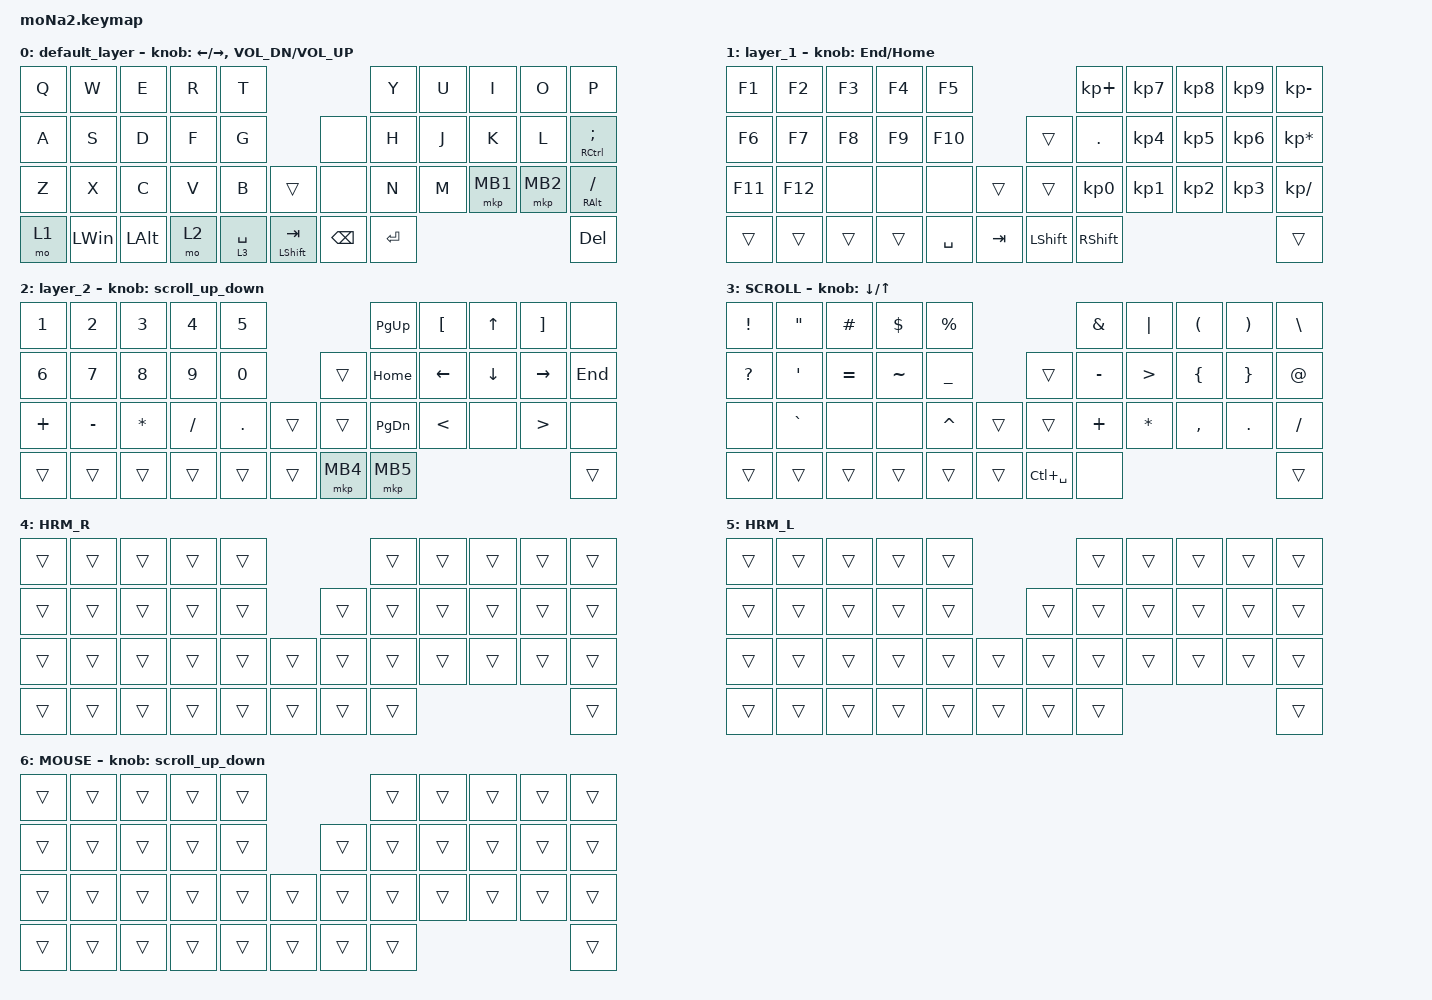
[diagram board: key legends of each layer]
#include <behaviors.dtsi>
#include <dt-bindings/zmk/bt.h>
#include <dt-bindings/zmk/keys.h>
#include <dt-bindings/zmk/pointing.h>

#define ZMK_POINTING_DEFAULT_SCRL_VAL 100
#define MOUSE 5
#define SCROLL 6

&mt {
    flavor = "hold-preferred";
    quick-tap-ms = <0>;
};

&lt { flavor = "hold-preferred"; };

/ {
    combos {
        compatible = "zmk,combos";

        bt1 {
            bindings = <&bt BT_SEL 0>;
            key-positions = <26 15>;
        };

        bt0 {
            bindings = <&bt BT_SEL 1>;
            key-positions = <26 27>;
        };

        bt_clr {
            bindings = <&bt BT_CLR>;
            key-positions = <26 27 15>;
        };

        trackball_scroll {
            bindings = <&mo 0>;
            key-positions = <30 31>;
        };

        lang1 {
            bindings = <&kp LANG1>;
            key-positions = <38 39>;
        };

        lang2 {
            bindings = <&kp LANG2>;
            key-positions = <37 40>;
        };

        middl_click {
            bindings = <&mkp MB3>;
            key-positions = <30 29>;
        };

        fnscroll-l {
            bindings = <&mo 0>;
            key-positions = <13 12>;
        };

        fnscroll-r {
            bindings = <&mo 0>;
            key-positions = <17 18>;
        };

        LeftCtrl {
            bindings = <&kp LEFT_CONTROL>;
            key-positions = <11 13>;
        };

        RightCtrl {
            bindings = <&kp RIGHT_CONTROL>;
            key-positions = <17 19>;
        };

        LeftAlt {
            bindings = <&kp LEFT_ALT>;
            key-positions = <14 12>;
        };

        RightAlt {
            bindings = <&kp RIGHT_ALT>;
            key-positions = <16 18>;
        };

        LeftGui {
            bindings = <&kp LEFT_GUI>;
            key-positions = <14 11>;
        };

        RightGui {
            bindings = <&kp RIGHT_GUI>;
            key-positions = <16 19>;
        };

        esc {
            bindings = <&kp ESC>;
            key-positions = <0 1>;
        };

        bt2 {
            bindings = <&bt BT_SEL 2>;
            key-positions = <27 15>;
        };
    };

    macros {
        to_layer_0: to_layer_0 {
            compatible = "zmk,behavior-macro-one-param";
            #binding-cells = <1>;
            bindings = <&to 0 &macro_param_1to1 &kp MACRO_PLACEHOLDER>;
            label = "TO_LAYER_0";
        };
    };

    behaviors {
        lt_to_layer_0: lt_to_layer_0 {
            compatible = "zmk,behavior-hold-tap";
            label = "LAYER_TAP_TO_0";
            bindings = <&mo>, <&to_layer_0>;

            #binding-cells = <2>;
            tapping-term-ms = <200>;
        };

        scroll_up_down: behavior_sensor_rotate_mouse_wheel_up_down {
            compatible = "zmk,behavior-sensor-rotate";
            #sensor-binding-cells = <0>;
            bindings = <&msc SCRL_UP>, <&msc SCRL_DOWN>;

            tap-ms = <20>;
        };

        tog_off: toggle_layer_off {
            compatible = "zmk,behavior-toggle-layer";
            #binding-cells = <1>;
            display-name = "Toggle Layer Off";
            toggle-mode = "off";
        };

        mt_rt: mt_retro_tap {
            compatible = "zmk,behavior-hold-tap";
            #binding-cells = <2>;
            flavor = "balanced";
            retro-tap;
            bindings = <&kp>, <&kp>;

            tapping-term-ms = <200>;
        };

        hml: home_row_mod_left {
            compatible = "zmk,behavior-hold-tap";
            #binding-cells = <2>;
            flavor = "balanced";
            require-prior-idle-ms = <200>;
            tapping-term-ms = <280>;
            quick-tap-ms = <160>;
            bindings = <&kp>, <&kp>;

            hold-trigger-key-positions = <5 6 7 8 9 15 16 17 18 19 20 26 27 28 29 30 31 32 33 34 35 36 37 38 39 40 41>;
            hold-trigger-on-release;
        };

        hmr: home_row_mod_right {
            compatible = "zmk,behavior-hold-tap";
            #binding-cells = <2>;
            flavor = "balanced";
            require-prior-idle-ms = <200>;
            tapping-term-ms = <280>;
            quick-tap-ms = <160>;
            bindings = <&kp>, <&kp>;

            hold-trigger-key-positions = <0 1 2 3 4 10 11 12 13 14 15 21 22 23 24 25 26 27 33 34 35 36 37 38 39 40 41>;
            hold-trigger-on-release;
        };
    };

    keymap {
        compatible = "zmk,keymap";

        default_layer {
            bindings = <
&kp Q  &kp W         &kp E         &kp R  &kp T                                        &kp Y      &kp U  &kp I     &kp O     &kp P
&kp A  &kp S         &kp D         &kp F  &kp G                         &none          &kp H      &kp J  &kp K     &kp L     &mt RCTRL SEMI
&kp Z  &kp X         &kp C         &kp V  &kp B        &trans           &none          &kp N      &kp M  &mkp MB1  &mkp MB2  &mt RALT SLASH
&mo 1  &kp LEFT_WIN  &kp LEFT_ALT  &mo 2  &lt 3 SPACE  &mt LSHFT TAB    &kp BACKSPACE  &kp ENTER                             &kp DEL
            >;

            sensor-bindings =
                <&inc_dec_kp LEFT_ARROW RIGHT_ARROW>,
                <&inc_dec_kp C_VOL_DN C_VOL_UP>;
        };

        layer_1 {
            bindings = <
&kp F1   &kp F2   &kp F3  &kp F4  &kp F5                                &kp KP_PLUS      &kp KP_N7  &kp KP_N8  &kp KP_N9  &kp KP_MINUS
&kp F6   &kp F7   &kp F8  &kp F9  &kp F10               &trans          &kp DOT          &kp KP_N4  &kp KP_N5  &kp KP_N6  &kp KP_MULTIPLY
&kp F11  &kp F12  &none   &none   &none      &trans     &trans          &kp KP_N0        &kp KP_N1  &kp KP_N2  &kp KP_N3  &kp KP_DIVIDE
&trans   &trans   &trans  &trans  &kp SPACE  &kp TAB    &kp LEFT_SHIFT  &kp RIGHT_SHIFT                                   &trans
            >;

            sensor-bindings = <&inc_dec_kp END HOME>;
        };

        layer_2 {
            bindings = <
&kp NUMBER_1  &kp NUMBER_2  &kp NUMBER_3  &kp NUMBER_4  &kp NUMBER_5                      &kp PG_UP  &kp LEFT_BRACKET  &kp UP_ARROW    &kp RIGHT_BRACKET  &none
&kp NUMBER_6  &kp NUMBER_7  &kp NUMBER_8  &kp NUMBER_9  &kp NUMBER_0            &trans    &kp HOME   &kp LEFT          &kp DOWN_ARROW  &kp RIGHT          &kp END
&kp PLUS      &kp MINUS     &kp ASTERISK  &kp SLASH     &kp DOT       &trans    &trans    &kp PG_DN  &kp LESS_THAN     &none           &kp GREATER_THAN   &none
&trans        &trans        &trans        &trans        &trans        &trans    &mkp MB4  &mkp MB5                                                        &trans
            >;

            sensor-bindings = <&scroll_up_down>;
        };

        SCROLL {
            bindings = <
&kp EXCLAMATION  &kp DQT    &kp HASH   &kp DOLLAR  &kp PERCENT                              &kp AMPERSAND  &kp PIPE          &kp LEFT_PARENTHESIS  &kp RIGHT_PARENTHESIS  &kp BACKSLASH
&kp QUESTION     &kp SQT    &kp EQUAL  &kp TILDE   &kp UNDERSCORE            &trans         &kp MINUS      &kp GREATER_THAN  &kp LEFT_BRACE        &kp RIGHT_BRACE        &kp AT_SIGN
&none            &kp GRAVE  &none      &none       &kp CARET       &trans    &trans         &kp PLUS       &kp ASTERISK      &kp COMMA             &kp PERIOD             &kp SLASH
&trans           &trans     &trans     &trans      &trans          &trans    &kp LC(SPACE)  &none                                                                         &trans
            >;

            sensor-bindings = <&inc_dec_kp DOWN_ARROW UP_ARROW>;
        };

        HRM_R {
            bindings = <
&trans  &trans  &trans  &trans  &trans                    &trans  &trans  &trans  &trans  &trans
&trans  &trans  &trans  &trans  &trans            &trans  &trans  &trans  &trans  &trans  &trans
&trans  &trans  &trans  &trans  &trans  &trans    &trans  &trans  &trans  &trans  &trans  &trans
&trans  &trans  &trans  &trans  &trans  &trans    &trans  &trans                          &trans
            >;
        };

        HRM_L {
            bindings = <
&trans  &trans  &trans  &trans  &trans                    &trans  &trans  &trans  &trans  &trans
&trans  &trans  &trans  &trans  &trans            &trans  &trans  &trans  &trans  &trans  &trans
&trans  &trans  &trans  &trans  &trans  &trans    &trans  &trans  &trans  &trans  &trans  &trans
&trans  &trans  &trans  &trans  &trans  &trans    &trans  &trans                          &trans
            >;
        };

        MOUSE {
            bindings = <
&trans  &trans  &trans  &trans  &trans                    &trans  &trans  &trans  &trans  &trans
&trans  &trans  &trans  &trans  &trans            &trans  &trans  &trans  &trans  &trans  &trans
&trans  &trans  &trans  &trans  &trans  &trans    &trans  &trans  &trans  &trans  &trans  &trans
&trans  &trans  &trans  &trans  &trans  &trans    &trans  &trans                          &trans
            >;

            sensor-bindings = <&scroll_up_down>;
        };
    };
};
